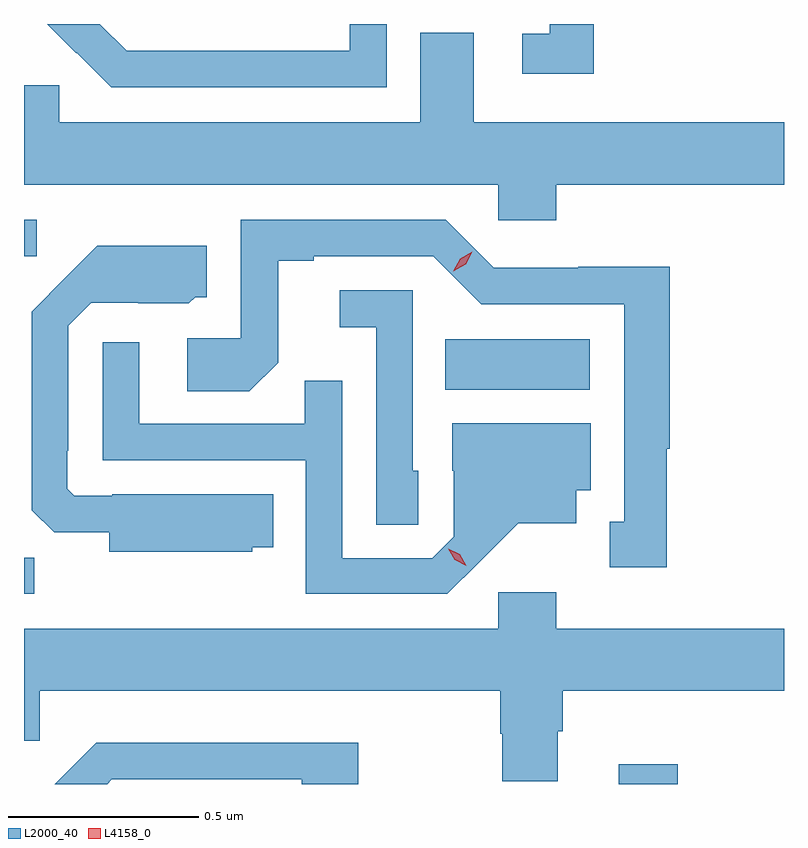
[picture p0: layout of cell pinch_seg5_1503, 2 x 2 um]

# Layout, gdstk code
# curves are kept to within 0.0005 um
import gdstk
lib = gdstk.Library(unit=1e-6, precision=1e-09)
def R(c, l, rs):  # rectangles x0, y0, x1, y1
    for r in rs: c.add(gdstk.rectangle(r[:2], r[2:], *l))
def P(c, l, *ps):  # polygons
    for p in ps: c.add(gdstk.Polygon(p, *l))
L2000_40 = (2000, 40)
L4158_0 = (4158, 0)

pinch_seg5_1503 = lib.new_cell('pinch_seg5_1503')
R(pinch_seg5_1503, L2000_40, [(137.381,892.479,137.537,892.531), (135.816,892.98,135.843,893.075), (136.924,893.516,137.305,893.65), (135.816,893.868,135.85,893.964)])
P(pinch_seg5_1503, L2000_40, [(136.77,894.479),(136.673,894.479),(136.673,894.408),(136.189,894.408),(136.189,894.409),(136.086,894.409),(136.015,894.479),(135.877,894.479),(135.954,894.402),(135.955,894.403),(136.046,894.312),(136.77,894.312)],
  [(137.315,894.479),(137.199,894.479),(137.199,894.453),(137.127,894.453),(137.127,894.348),(137.315,894.348)],
  [(137.216,894.056),(137.816,894.056),(137.816,894.22),(136.999,894.22),(136.999,894.456),(136.859,894.456),(136.859,894.22),(135.909,894.22),(135.909,894.318),(135.816,894.318),(135.816,894.056),(137.064,894.056),(137.064,893.963),(137.216,893.963)],
  [(137.507,893.361),(137.515,893.361),(137.515,893.84),(137.274,893.84),(137.274,893.838),(137.052,893.838),(136.926,893.964),(136.386,893.964),(136.386,893.652),(136.245,893.652),(136.245,893.512),(136.409,893.512),(136.485,893.588),(136.485,893.856),(136.579,893.856),(136.579,893.868),(136.893,893.868),(137.019,893.742),(137.396,893.742),(137.396,893.169),(137.357,893.169),(137.357,893.049),(137.507,893.049)],
  [(136.416,893.102),(136.472,893.102),(136.472,893.242),(136.048,893.242),(136.048,893.238),(135.948,893.238),(135.93,893.256),(135.93,893.356),(135.933,893.356),(135.933,893.685),(135.993,893.745),(136.116,893.745),(136.116,893.744),(136.25,893.744),(136.266,893.76),(136.297,893.76),(136.297,893.896),(136.009,893.896),(135.837,893.722),(135.837,893.2),(135.896,893.141),(136.04,893.141),(136.04,893.09),(136.416,893.09)],
  [(136.854,893.304),(136.839,893.304),(136.839,893.778),(136.647,893.778),(136.647,893.681),(136.743,893.681),(136.743,893.161),(136.854,893.161)],
  [(137.014,893.063),(137.117,893.165),(137.269,893.165),(137.269,893.252),(137.308,893.252),(137.308,893.428),(136.943,893.428),(136.943,893.304),(136.947,893.304),(136.947,893.13),(136.89,893.073),(136.653,893.073),(136.653,893.54),(136.555,893.54),(136.555,893.427),(136.119,893.427),(136.119,893.641),(136.023,893.641),(136.023,893.331),(136.557,893.331),(136.557,892.98),(136.93,892.98)],
  [(137.221,892.618),(137.234,892.618),(137.234,892.724),(137.816,892.724),(137.816,892.888),(137.216,892.888),(137.216,892.984),(137.064,892.984),(137.064,892.888),(135.816,892.888),(135.816,892.593),(135.858,892.593),(135.858,892.724),(137.069,892.724),(137.069,892.611),(137.074,892.611),(137.074,892.486),(137.221,892.486)],
  [(136.047,892.491),(136.547,892.491),(136.547,892.479),(136.696,892.479),(136.696,892.588),(136.006,892.588),(135.897,892.479),(136.035,892.479)])
P(pinch_seg5_1503, L4158_0, [(136.946,893.828),(136.946,893.829),(136.964,893.861),(136.996,893.88),(136.996,893.88),(136.996,893.88),(136.978,893.847),(136.946,893.828)],
  [(136.98,893.054),(136.949,893.069),(136.932,893.098),(136.932,893.098),(136.932,893.098),(136.963,893.084),(136.98,893.054),(136.98,893.054)])

lib.write_gds('pinch_seg5_1503.gds')
